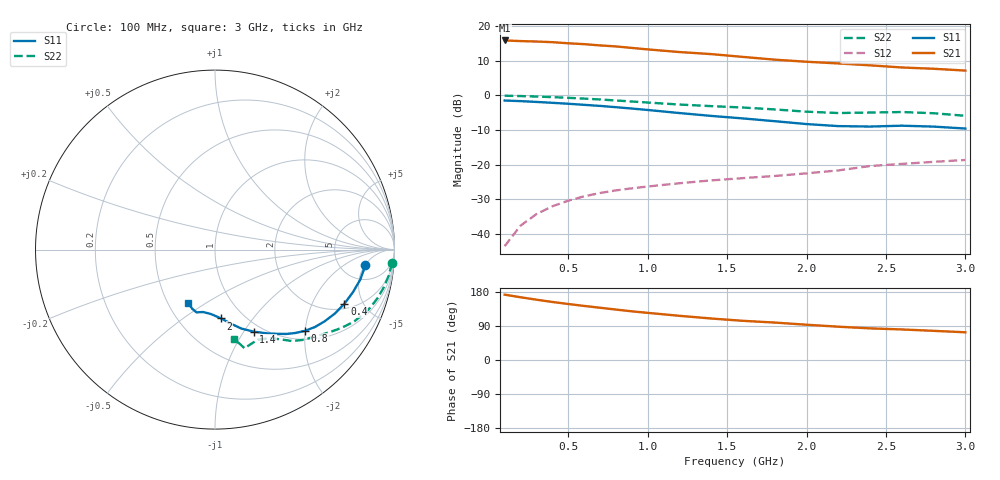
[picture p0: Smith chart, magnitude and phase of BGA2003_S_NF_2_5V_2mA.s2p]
! Title: BGA2003
! Bias: V(Vs_Out)=2.5V; I(CTRL)=2mA controlled / noise data included
! Company: Philips Semiconductors NL
! User: Quality&Reliability DiscreteSemiConductors-Nijmegen
! Measure time: 15 Jan 1999 / 14:06:51
#  MHz  S  MA  R 50
! Freq  S11  S21  S12  S22  :
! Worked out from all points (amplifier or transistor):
!   20 points, 100 MHz to 3 GHz, reference 50 ohm
!   highest |S21| = 15.9 dB at 100 MHz (marker M1)
!   |S21| within 3 dB of that: start of sweep to 1.108 GHz
!   unconditionally stable (mu >= 1): 1.692 GHz to end of sweep
!   at 400 MHz: K = 0.23, MSG = 23.8 dB, |S12| = -32.1 dB
!   at 1.2 GHz: K = 0.72, MSG = 19.0 dB, |S12| = -25.4 dB
!   at 3 GHz: K = 1.21, MAG = 10.2 dB, |S12| = -18.7 dB
!   lowest NFmin = 1.42 dB at 900 MHz
!   S11 on the Smith chart (normalised r, x): 100 MHz: 9, -5; 400 MHz: 2.30, -3.57; 800 MHz: 1.20, -2.00; 1.4 GHz: 0.90, -1.11; 2 GHz: 0.79, -0.71; 3 GHz: 0.63, -0.42
100  0.8428 -5.9  6.237 172.4  0.006583 85.5  0.9893 -4.3
200  0.8265 -11.6  6.107 165.6  0.01301 82.9  0.9781 -8.7
300  0.8045 -17.1  6.018 159.2  0.01912 79.4  0.963 -12.8
400  0.7814 -22.7  5.892 153.2  0.02483 76.6  0.9444 -16.7
500  0.7571 -28.1  5.678 147.8  0.02993 74.3  0.9228 -20.6
600  0.7303 -33.1  5.513 142.7  0.03462 72.3  0.8987 -24.0
700  0.7046 -37.7  5.288 137.9  0.03868 70.6  0.873 -27.2
800  0.6753 -42.1  5.111 133.1  0.0422 69.3  0.8445 -30.1
900  0.6457 -46.0  4.866 128.4  0.04521 68.0  0.816 -32.9
1000  0.6153 -49.8  4.631 124.4  0.04805 67.5  0.7881 -35.7
1200  0.5556 -57.4  4.24 116.6  0.05357 67.3  0.7377 -41.1
1400  0.505 -64.8  3.959 109.5  0.05892 68.3  0.6995 -46.0
1600  0.4643 -71.5  3.605 103.4  0.06349 70.5  0.6674 -49.8
1800  0.4234 -77.7  3.289 98.8  0.06827 73.3  0.6265 -53.2
2000  0.3848 -84.9  3.068 93.1  0.07444 74.4  0.5812 -58.0
2200  0.3595 -93.7  2.901 87.9  0.08214 75.9  0.5559 -64.7
2400  0.3541 -100.8  2.724 83.5  0.09508 77.7  0.5648 -70.1
2600  0.3644 -106.4  2.535 80.6  0.1021 79.1  0.5745 -73.3
2800  0.3535 -111.0  2.429 76.9  0.1093 80.3  0.5518 -74.7
3000  0.3315 -117.2  2.286 73.1  0.1162 80.9  0.5065 -78.2
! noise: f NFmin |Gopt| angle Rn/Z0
900  1.419  0.35  21.25  0.3
1000  1.56  0.31  28.18  0.24
1800  1.6  0.18  88.1  0.14
2000  1.65  0.24  76.41  0.23
2400  1.73  0.22  91.9  0.22
